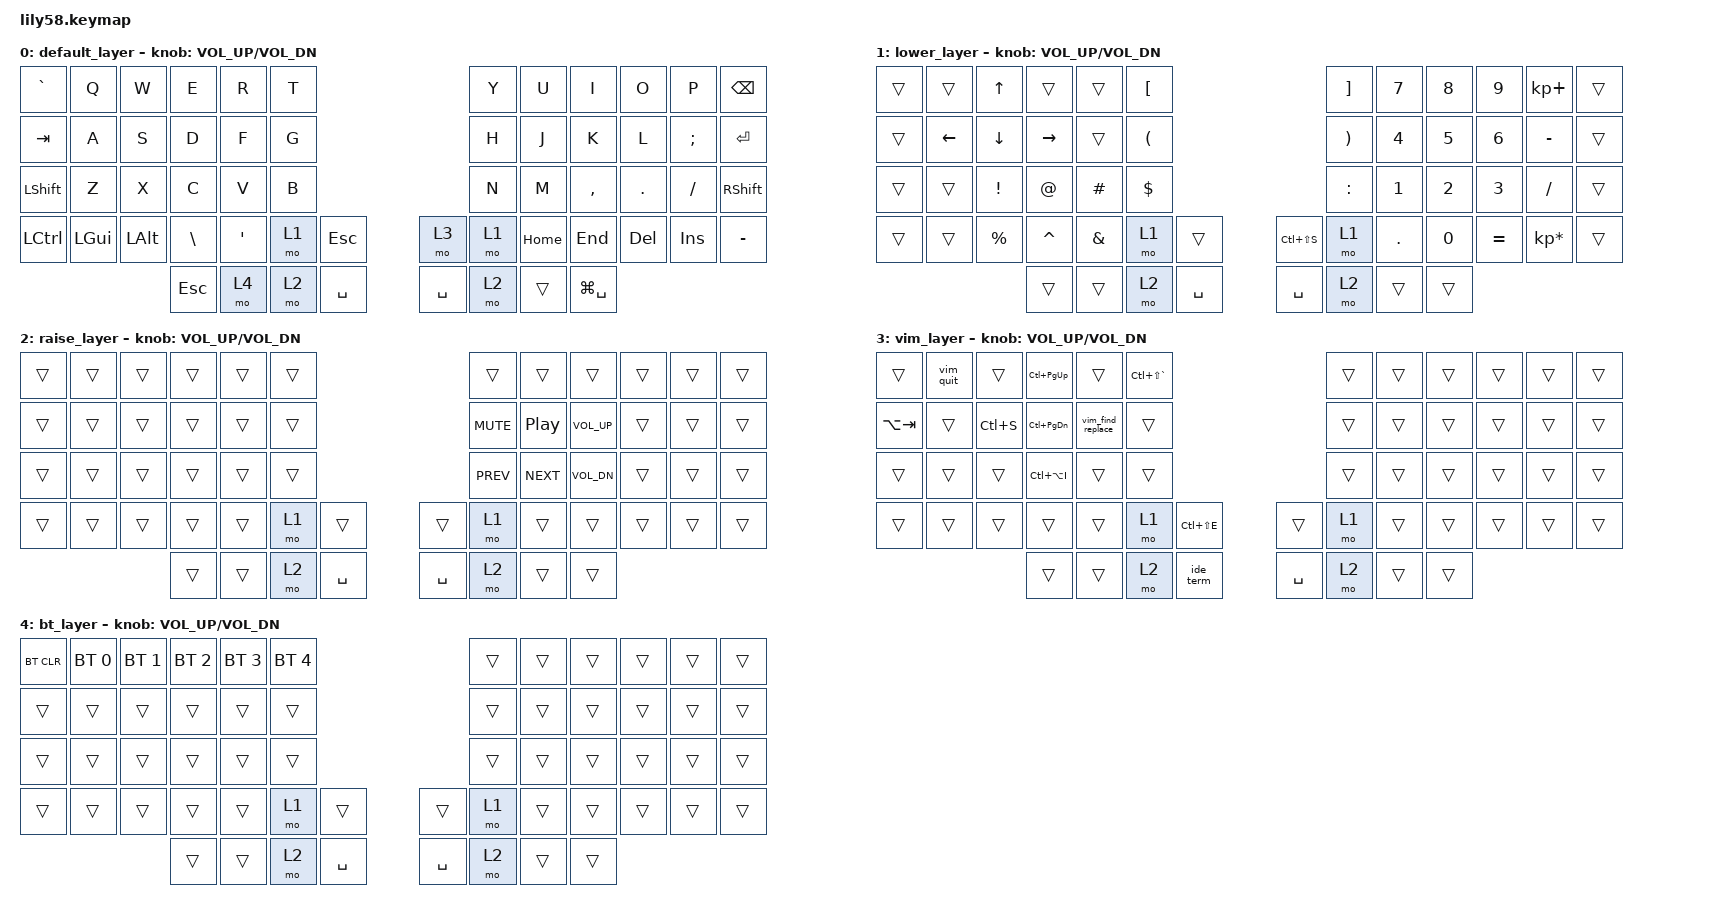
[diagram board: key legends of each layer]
/*
 * Copyright (c) 2020 The ZMK Contributors
 *
 * SPDX-License-Identifier: MIT
 */

#include <behaviors.dtsi>
#include <dt-bindings/zmk/keys.h>
#include <dt-bindings/zmk/bt.h>
#include <dt-bindings/zmk/ext_power.h>
#include <dt-bindings/zmk/modifiers.h>

/ {
	macros {
		vim_quit: vim_quit {
			label = ":q!";
			compatible = "zmk,behavior-macro";
			#binding-cells = <0>;
			bindings 
			= <&kp COLON &kp Q &kp EXCL &kp ENTER>
			;
		};
		ide_term: ide_term {
			label = "switch to ide terminal";
			compatible = "zmk,behavior-macro";
			#binding-cells = <0>;
			bindings
			= <&kp LC(GRAVE)>
			;
		};
		vim_find_replace: vim_find_replace {
			label = "start find and replace";
			compatible = "zmk,behavior-macro";
			#binding-cells = <0>;
			bindings
			= <&kp COLON &kp PRCNT &kp S &kp SLASH>
			;
		};
	};

	keymap {
		compatible = "zmk,keymap";

		default_layer {
			bindings = <
// ------------------------------------------------------------------------------------------------------------
// |  `   |  q  |  w   |  e   |  r    |  t   |        		           |  y   |  u  |  i   |  o   |   p   |   BSPC   |
&kp GRAVE &kp Q &kp W &kp E   &kp R   &kp T         		            &kp Y &kp U   &kp I    &kp O  &kp P   &kp BACKSPACE
// |  TAB  |  a  |  s  |  d   |  f    |  g   |    		               |  h   |  j    |  k    |  l   |   ;   |   ENTER   |
&kp TAB   &kp A  &kp S  &kp D    &kp F &kp G       		               &kp H  &kp J    &kp K     &kp L   &kp SEMI    &kp ENTER
// |  SHIFT |  z  |  x  |  c   |  v    |  b   |    		               |  n   |  m    |  ,    |  .   |   /   |   SHIFT   |
&kp LSHFT &kp Z  &kp X  &kp C    &kp V  &kp B    		                  &kp N  &kp M    &kp COMMA     &kp DOT   &kp SLASH &kp RSHFT
// | CTRL |  LGUI   |  LALT   |  \    |  '   |  RAISE   |  ESC   |	 VIM |  RAISE  |     |   home   |   end   |   delete  |   insert   | - |
&kp LCTL &kp LGUI  &kp LALT  &kp BSLH &kp SQT &mo 1 &kp ESC  &mo 3 &mo 1 &kp HOME &kp END  &kp DELETE  &kp INSERT   &kp MINUS
//                     |      |  bt_layer | LOWER |  SPACE |  | SPACE | RAISE |        |   search    |
                        &kp ESC   &mo 4    &mo 2 &kp SPACE  &kp SPACE  &mo 2 &trans   &kp LG(SPACE)			
			>;

			sensor-bindings = <&inc_dec_kp C_VOL_UP C_VOL_DN>;
		};

		lower_layer {
			bindings = <
// ------------------------------------------------------------------------------------------------------------
// |   |     | UP_ARROW    |    |      |  [    |                   |   ]   |    7   |   8    |   9   |    +   |       |
&trans &trans &kp UP_ARROW &trans &trans &kp LBKT                   &kp RBKT  &kp N7    &kp N8  &kp N9  &kp KP_PLUS &trans
// |   |  LEFT_ARROW |  DOWN_ARROW    |  RIGHT_ARROW |   |   (    |   )   |   4    |   5    |  6    |  -     |       |
&trans &kp LEFT_ARROW &kp DOWN_ARROW &kp RIGHT_ARROW &trans &kp LPAR &kp RPAR &kp N4 &kp N5 &kp N6 &kp MINUS &trans
// |      |      |   !  |  @   |  #   |  $   |                   |  :   |  1    |  2    |  3   |   /   |      |
&trans  &trans &kp EXCL &kp AT &kp POUND &kp DLLR              &kp COLON &kp N1  &kp N2 &kp N3  &kp FSLH  &trans
// |       |     |  %   |   ^   |   &   |      |        |  |    screensh   |      |   .   |  0    |  =   |   *   |    |
&trans &trans &kp PRCNT &kp CARET &kp AMPS &mo 1 &trans &kp LC(LS(S)) &mo 1  &kp DOT &kp N0   &kp EQUAL &kp KP_MULTIPLY  &trans
//                     | ESC  | RAISE  | LOWER|  SPACE |  | SPACE | LOWER| RAISE  |       |
                        &trans &trans &mo 2  &kp SPACE  &kp SPACE  &mo 2  &trans &trans
			>;

			sensor-bindings = <&inc_dec_kp C_VOL_UP C_VOL_DN>;
		};

		raise_layer {
			bindings = <
// ------------------------------------------------------------------------------------------------------------
// |       |           |             |            |            |           |                |          |                  |             |        |        |       |
&trans      &trans         &trans       &trans           &trans    &trans                   &trans     &trans            &trans        &trans  &trans    &trans
// |       |           |             |            |            |           |                |  K_MUTE  |   K_PLAY_PAUSE   |  K_VOL_UP   |        |        |       |
&trans        &trans      &trans         &trans        &trans     &trans                     &kp C_MUTE &kp C_PLAY_PAUSE   &kp C_VOL_UP   &trans   &trans   &trans
// |       |           |             |            |            |           |                |  K_PREV  |   K_NEXT         |   K_VOL_DN  |        |        |       |
&trans       &trans         &trans       &trans        &trans     &trans                     &kp C_PREV     &kp C_NEXT      &kp C_VOL_DN  &trans   &trans   &trans
// |       |           |             |             |            |           |        |      |          |                  |             |        |        |       |   
&trans       &trans     &trans        &trans &trans    &mo 1     &trans   &trans    &mo 1    &trans              &trans      &trans  &trans  &trans
//                     |       |      |       |          |         |       |      |       |       
                        &trans   &trans  &mo 2  &kp SPACE  &kp SPACE  &mo 2  &trans   &trans
			>;

			sensor-bindings = <&inc_dec_kp C_VOL_UP C_VOL_DN>;
		};

		vim_layer {
				bindings = <
// ------------------------------------------------------------------------------------------------------------
// |       |   :q!     |          |     term_up       |            |   term_new    |                |          |                  |             |        |        |       |
&trans      &vim_quit      &trans      &kp LC(PG_UP)      &trans      &kp LC(LS(GRAVE))         &trans     &trans            &trans        &trans  &trans    &trans
// | alt/tab  |          |      Save    |     term_down       |     :%s       |        |                |    |      |     |        |        |       |
&kp LA(TAB)        &trans       &kp LC(S)    &kp LC(PG_DN)      &vim_find_replace     &trans                     &trans &trans   &trans   &trans   &trans   &trans
// |       |           |             |  copilot   |            |        |                |    |         |     |        |        |       |
&trans       &trans         &trans     &kp LC(LA(I))    &trans     &trans                     &trans     &trans     &trans  &trans   &trans   &trans
// |       |           |             |             |            |    text_tab  |        |      |          |                  |             |        |        |       |   
&trans       &trans     &trans        &trans &trans    &mo 1     &kp LC(LS(E))   &trans    &mo 1    &trans              &trans      &trans  &trans  &trans
//                     |       |      |       | ide term|         |       |      |       |       
                        &trans   &trans  &mo 2  &ide_term  &kp SPACE  &mo 2  &trans   &trans
		  >;

		  sensor-bindings = <&inc_dec_kp C_VOL_UP C_VOL_DN>;
	  };

	  bt_layer {
	  	bindings = <
// ------------------------------------------------------------------------------------------------------------
// | BTCLR |   BT1     |    BT2      |    BT3     |    BT4     |    BT5    |                |          |                  |             |        |        |       |
&bt BT_CLR &bt BT_SEL 0  &bt BT_SEL 1 &bt BT_SEL 2 &bt BT_SEL 3 &bt BT_SEL 4                   &trans     &trans            &trans        &trans  &trans    &trans
// |       |           |             |            |            |           |                |       |      |    |        |        |       |
&trans        &trans      &trans         &trans        &trans     &trans                     &trans &trans   &trans  &trans   &trans   &trans
// |       |           |             |            |            |           |                |       |            |     |        |        |       |
&trans       &trans         &trans       &trans        &trans     &trans                     &trans     &trans      &trans  &trans   &trans   &trans
// |       |           |             |             |            |           |        |      |          |                  |             |        |        |       |   
&trans       &trans     &trans        &trans &trans    &mo 1     &trans   &trans    &mo 1    &trans              &trans      &trans  &trans  &trans
//                     |       |      |       |          |         |       |      |       |       
                        &trans   &trans  &mo 2  &kp SPACE  &kp SPACE  &mo 2  &trans   &trans
			>;

			sensor-bindings = <&inc_dec_kp C_VOL_UP C_VOL_DN>;
	  };
	};
};
